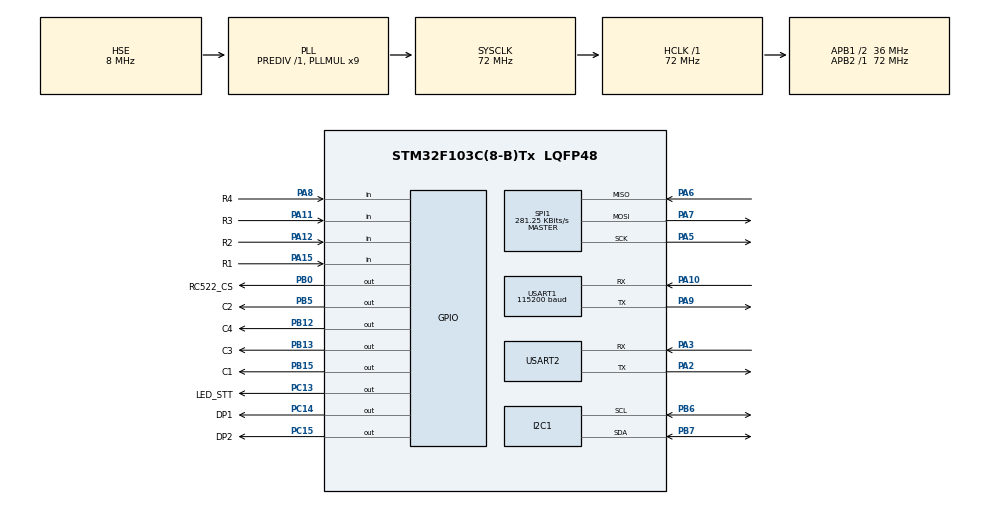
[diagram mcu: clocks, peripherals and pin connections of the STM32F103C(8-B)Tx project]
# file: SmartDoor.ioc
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Mcu.Family=STM32F1
Mcu.Name=STM32F103C(8-B)Tx
Mcu.Package=LQFP48
NVIC.PriorityGroup=NVIC_PRIORITYGROUP_4
NVIC.USART1_IRQn=true\:0\:0\:false\:false\:true\:true\:true\:true
NVIC.USART2_IRQn=true\:0\:0\:false\:false\:true\:true\:true\:true
PA10.Mode=Asynchronous
PA10.Signal=USART1_RX
PA11.GPIO_Label=R3
PA11.GPIO_PuPd=GPIO_PULLUP
PA11.Signal=GPIO_Input
PA12.GPIO_Label=R2
PA12.GPIO_PuPd=GPIO_PULLUP
PA12.Signal=GPIO_Input
PA13.Mode=Serial_Wire
PA13.Signal=SYS_JTMS-SWDIO
PA14.Mode=Serial_Wire
PA14.Signal=SYS_JTCK-SWCLK
PA15.GPIO_Label=R1
PA15.GPIO_PuPd=GPIO_PULLUP
PA15.Signal=GPIO_Input
PA2.Mode=Asynchronous
PA2.Signal=USART2_TX
PA3.Mode=Asynchronous
PA3.Signal=USART2_RX
PA5.Mode=Full_Duplex_Master
PA5.Signal=SPI1_SCK
PA6.Mode=Full_Duplex_Master
PA6.Signal=SPI1_MISO
PA7.Mode=Full_Duplex_Master
PA7.Signal=SPI1_MOSI
PA8.GPIO_Label=R4
PA8.GPIO_PuPd=GPIO_PULLUP
PA8.Signal=GPIO_Input
PA9.Mode=Asynchronous
PA9.Signal=USART1_TX
PB0.GPIO_Label=RC522_CS
PB0.Signal=GPIO_Output
PB12.GPIO_Label=C4
PB12.Signal=GPIO_Output
PB13.GPIO_Label=C3
PB13.Signal=GPIO_Output
PB15.GPIO_Label=C1
PB15.Signal=GPIO_Output
PB5.GPIO_Label=C2
PB5.Signal=GPIO_Output
PB6.Mode=I2C
PB6.Signal=I2C1_SCL
PB7.Mode=I2C
PB7.Signal=I2C1_SDA
PC13-TAMPER-RTC.GPIO_Label=LED_STT
PC13-TAMPER-RTC.Signal=GPIO_Output
PC14-OSC32_IN.GPIO_Label=DP1
PC14-OSC32_IN.Signal=GPIO_Output
PC15-OSC32_OUT.GPIO_Label=DP2
PC15-OSC32_OUT.Signal=GPIO_Output
PD0-OSC_IN.Mode=HSE-External-Oscillator
PD0-OSC_IN.Signal=RCC_OSC_IN
PD1-OSC_OUT.Mode=HSE-External-Oscillator
PD1-OSC_OUT.Signal=RCC_OSC_OUT
ProjectManager.HeapSize=0x200
ProjectManager.StackSize=0x400
ProjectManager.TargetToolchain=STM32CubeIDE
RCC.AHBFreq_Value=72000000
RCC.APB1CLKDivider=RCC_HCLK_DIV2
RCC.APB1Freq_Value=36000000
RCC.APB1TimFreq_Value=72000000
RCC.APB2Freq_Value=72000000
RCC.APB2TimFreq_Value=72000000
RCC.HCLKFreq_Value=72000000
RCC.PLLMUL=RCC_PLL_MUL9
RCC.PLLSourceVirtual=RCC_PLLSOURCE_HSE
RCC.SYSCLKFreq_VALUE=72000000
RCC.SYSCLKSource=RCC_SYSCLKSOURCE_PLLCLK
RCC.USBFreq_Value=72000000
SPI1.BaudRatePrescaler=SPI_BAUDRATEPRESCALER_256
SPI1.CalculateBaudRate=281.25 KBits/s
SPI1.Direction=SPI_DIRECTION_2LINES
SPI1.Mode=SPI_MODE_MASTER
SPI1.VirtualType=VM_MASTER
USART1.BaudRate=115200
USART1.VirtualMode=VM_ASYNC
USART2.VirtualMode=VM_ASYNC
board=custom

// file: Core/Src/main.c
/* USER CODE BEGIN Header */
/**
  ******************************************************************************
  * @file           : main.c
  * @brief          : Main program body
  ******************************************************************************
  * @attention
  *
  * Copyright (c) 2023 STMicroelectronics.
  * All rights reserved.
  *
  * This software is licensed under terms that can be found in the LICENSE file
  * in the root directory of this software component.
  * If no LICENSE file comes with this software, it is provided AS-IS.
  *
  ******************************************************************************
  */
/* USER CODE END Header */
#include "main.h"
#include "i2c.h"
#include "spi.h"
#include "usart.h"
#include "gpio.h"

/* USER CODE BEGIN Includes */
// thư viện sử lý chuỗi
#include <stdbool.h>
#include <stdio.h>
#include <stdlib.h>
#include <strings.h>
#include <stdarg.h>

// thư viện ngoại vi
#include "lcd_i2c.h"
#include "mfrc522.h"
#include "module_sim.h"
#include "keypad.h"
#include "password_handle.h"
#include "rfid_app.h"

/* USER CODE END Includes */

/* USER CODE BEGIN PV */
void HAL_UART_RxCpltCallback(UART_HandleTypeDef *huart)
{
    // uart interrupt
    if(huart->Instance==huart2.Instance)
    {
		  if(sim.charRec==SIM_STOP)
		  {
			  sim.dataDoneFrame=true;
			  sim.enReaddata=false;
		  }

		  if(sim.enReaddata)
		  {
			  sim.arrRec[sim.countRec]=sim.charRec;
			  sim.countRec++;
		  }

		  if(sim.charRec==SIM_START)
		  {
			  sim.enReaddata=true;
			  sim.dataDoneFrame=false;
			  sim.countRec=0;
		  }

    }//uart interrupt

    // uart interrupt
    if(huart->Instance==huart1.Instance)
    {
    	if(VanTay.charRec=='#') VanTay.dataDoneFrame=true;

    	 if(VanTay.enReadData && VanTay.dataDoneFrame==false)
    	 {
    		 VanTay.arrRec[VanTay.countChar]=VanTay.charRec;
    		 VanTay.countChar++;
    	 }

		 if(VanTay.charRec=='*') VanTay.enReadData=true;

		 HAL_GPIO_TogglePin(LED_STT_GPIO_Port, LED_STT_Pin);
    }//uart interrupt

    HAL_UART_Receive_IT(&huart1,&VanTay.charRec,1);
	HAL_UART_Receive_IT(&huart2,&sim.charRec,1);
}

/* USER CODE END PV */

void SystemClock_Config(void);

int main(void)
{

  /* MCU Configuration--------------------------------------------------------*/

  /* Reset of all peripherals, Initializes the Flash interface and the Systick. */
  HAL_Init();

  /* Configure the system clock */
  SystemClock_Config();

  /* Initialize all configured peripherals */
  MX_GPIO_Init();
  MX_I2C1_Init();
  MX_SPI1_Init();
  MX_USART1_UART_Init();
  MX_USART2_UART_Init();
  /* USER CODE BEGIN 2 */
  MFRC522_Init();

  lcd_init();
  HAL_Delay(100);
  lcd_clear();
  HAL_Delay(500);
  lcd_string(1, 1, "Loading...");
  HAL_Delay(2000);

  //sim_print("run application\n\r");
  sim_print("AT"); HAL_Delay(1000);
  sim_print("ATE0"); HAL_Delay(1000);
  sim_print("AT&W"); HAL_Delay(1000);
  sim_print("AT+CMGF=1"); HAL_Delay(1000);
  sim_print("AT+CNMI=2,2"); HAL_Delay(1000);

  HAL_UART_Receive_IT(&huart2,&sim.charRec,1);
  HAL_UART_Receive_IT(&huart1,&VanTay.charRec,1);

  ///HAL_UART_Transmit(&huart1,"run appliation\n",strlen("run appliation\n"),100);

  for(int i=0;i<10;i++)
  {
	  HAL_GPIO_TogglePin(LED_STT_GPIO_Port, LED_STT_Pin);
	  HAL_Delay(100);
  }

  /* USER CODE END 2 */

  /* Infinite loop */
  /* USER CODE BEGIN WHILE */
  while (1)
  {
	  man_hinh_cho();
	  nhap_phim();

    /* USER CODE END WHILE */

  }
}

void SystemClock_Config(void)
{
  RCC_OscInitTypeDef RCC_OscInitStruct = {0};
  RCC_ClkInitTypeDef RCC_ClkInitStruct = {0};

  /** Initializes the RCC Oscillators according to the specified parameters
  * in the RCC_OscInitTypeDef structure.
  */
  RCC_OscInitStruct.OscillatorType = RCC_OSCILLATORTYPE_HSE;
  RCC_OscInitStruct.HSEState = RCC_HSE_ON;
  RCC_OscInitStruct.HSEPredivValue = RCC_HSE_PREDIV_DIV1;
  RCC_OscInitStruct.HSIState = RCC_HSI_ON;
  RCC_OscInitStruct.PLL.PLLState = RCC_PLL_ON;
  RCC_OscInitStruct.PLL.PLLSource = RCC_PLLSOURCE_HSE;
  RCC_OscInitStruct.PLL.PLLMUL = RCC_PLL_MUL9;
  if (HAL_RCC_OscConfig(&RCC_OscInitStruct) != HAL_OK)
  {
    Error_Handler();
  }

  /** Initializes the CPU, AHB and APB buses clocks
  */
  RCC_ClkInitStruct.ClockType = RCC_CLOCKTYPE_HCLK|RCC_CLOCKTYPE_SYSCLK
                              |RCC_CLOCKTYPE_PCLK1|RCC_CLOCKTYPE_PCLK2;
  RCC_ClkInitStruct.SYSCLKSource = RCC_SYSCLKSOURCE_PLLCLK;
  RCC_ClkInitStruct.AHBCLKDivider = RCC_SYSCLK_DIV1;
  RCC_ClkInitStruct.APB1CLKDivider = RCC_HCLK_DIV2;
  RCC_ClkInitStruct.APB2CLKDivider = RCC_HCLK_DIV1;

  if (HAL_RCC_ClockConfig(&RCC_ClkInitStruct, FLASH_LATENCY_2) != HAL_OK)
  {
    Error_Handler();
  }
}

/* USER CODE BEGIN 4 */
// string hex to char number

/* USER CODE END 4 */

void Error_Handler(void)
{
  __disable_irq();
  while (1)
  {
  }
}
